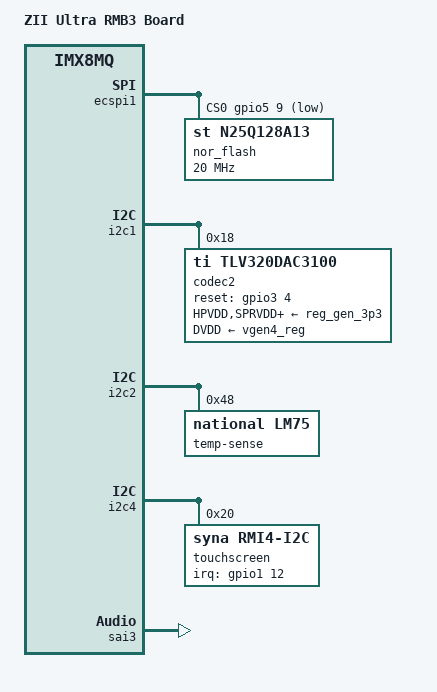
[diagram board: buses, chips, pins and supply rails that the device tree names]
// SPDX-License-Identifier: (GPL-2.0 OR MIT)
/*
 * Copyright (C) 2019 Zodiac Inflight Innovations
 */

/dts-v1/;

#include "imx8mq-zii-ultra.dtsi"

/ {
	model = "ZII Ultra RMB3 Board";
	compatible = "zii,imx8mq-ultra-rmb3", "zii,imx8mq-ultra", "fsl,imx8mq";

	sound1 {
		compatible = "simple-audio-card";
		simple-audio-card,name = "front";
		simple-audio-card,format = "i2s";
		simple-audio-card,bitclock-master = <&sound1_codec>;
		simple-audio-card,frame-master = <&sound1_codec>;
		simple-audio-card,widgets =
			"Headphone", "Headphone Jack Front";
		simple-audio-card,routing =
			"Headphone Jack Front", "HPA1 HPLEFT",
			"Headphone Jack Front", "HPA1 HPRIGHT",
			"HPA1 LEFTIN", "HPL",
			"HPA1 RIGHTIN", "HPR";
		simple-audio-card,aux-devs = <&hpa1>;

		sound1_cpu: simple-audio-card,cpu {
			sound-dai = <&sai2>;
		};

		sound1_codec: simple-audio-card,codec {
			sound-dai = <&codec1>;
			clocks = <&cs2000>;
		};
	};

	sound2 {
		compatible = "simple-audio-card";
		simple-audio-card,name = "periph";
		simple-audio-card,format = "i2s";
		simple-audio-card,bitclock-master = <&sound2_codec>;
		simple-audio-card,frame-master = <&sound2_codec>;
		simple-audio-card,widgets =
			"Headphone", "Headphone Jack Back";
		simple-audio-card,routing =
			"Headphone Jack Back", "HPA1 HPLEFT",
			"Headphone Jack Back", "HPA1 HPRIGHT",
			"HPA1 LEFTIN", "HPL",
			"HPA1 RIGHTIN", "HPR";
		simple-audio-card,aux-devs = <&hpa2>;

		sound2_cpu: simple-audio-card,cpu {
			sound-dai = <&sai3>;
		};

		sound2_codec: simple-audio-card,codec {
			sound-dai = <&codec2>;
			clocks = <&cs2000>;
		};
	};
};

&ecspi1 {
	pinctrl-names = "default";
	pinctrl-0 = <&pinctrl_ecspi1>;
	cs-gpios = <&gpio5 9 GPIO_ACTIVE_LOW>;
	status = "okay";
	#address-cells = <1>;
	#size-cells = <0>;

	nor_flash: flash@0 {
		compatible = "st,n25q128a13", "jedec,spi-nor";
		spi-max-frequency = <20000000>;
		reg = <0>;
	};
};

&hpa2 {
	sound-name-prefix = "HPA1";
};

&i2c1 {
	codec2: codec@18 {
		compatible = "ti,tlv320dac3100";
		pinctrl-names = "default";
		pinctrl-0 = <&pinctrl_codec2>;
		reg = <0x18>;
		#sound-dai-cells = <0>;
		HPVDD-supply = <&reg_gen_3p3>;
		SPRVDD-supply = <&reg_gen_3p3>;
		SPLVDD-supply = <&reg_gen_3p3>;
		AVDD-supply = <&reg_gen_3p3>;
		IOVDD-supply = <&reg_gen_3p3>;
		DVDD-supply = <&vgen4_reg>;
		reset-gpios = <&gpio3 4 GPIO_ACTIVE_HIGH>;
	};
};

&i2c2 {
	temp-sense@48 {
		compatible = "national,lm75";
		reg = <0x48>;
	};
};

&i2c4 {
	touchscreen@20 {
		compatible = "syna,rmi4-i2c";
		pinctrl-names = "default";
		pinctrl-0 = <&pinctrl_ts>;
		reg = <0x20>;
		interrupt-parent = <&gpio1>;
		interrupts = <12 IRQ_TYPE_LEVEL_LOW>;

		#address-cells = <1>;
		#size-cells = <0>;

		rmi4-f01@1 {
			reg = <0x1>;
			syna,nosleep-mode = <2>;
		};

		rmi4-f11@11 {
			reg = <0x11>;
			touchscreen-inverted-x;
			touchscreen-swapped-x-y;
			syna,sensor-type = <1>;
			syna,delta-x-threshold = <5>;
			syna,delta-y-threshold = <10>;
		};

		rmi4-f12@12 {
			reg = <0x12>;
			touchscreen-inverted-x;
			touchscreen-swapped-x-y;
			syna,sensor-type = <1>;
		};
	};

	touchscreen@2a {
		compatible = "eeti,exc3000";
		pinctrl-names = "default";
		pinctrl-0 = <&pinctrl_ts>;
		reg = <0x2a>;
		interrupt-parent = <&gpio1>;
		interrupts = <12 IRQ_TYPE_LEVEL_LOW>;
		touchscreen-inverted-x;
		touchscreen-swapped-x-y;
		status = "disabled";
	};
};

&sai3 {
	pinctrl-names = "default";
	pinctrl-0 = <&pinctrl_sai3>;
	status = "okay";
};

&usbhub {
	swap-dx-lanes = <0>;
};

&iomuxc {
	pinctrl_codec2: dac2grp {
		fsl,pins = <
			MX8MQ_IOMUXC_NAND_CE3_B_GPIO3_IO4		0x41
		>;
	};

	pinctrl_ecspi1: ecspi1grp {
		fsl,pins = <
			MX8MQ_IOMUXC_ECSPI1_SS0_GPIO5_IO9	0x19
			MX8MQ_IOMUXC_ECSPI1_SCLK_ECSPI1_SCLK	0x82
			MX8MQ_IOMUXC_ECSPI1_MISO_ECSPI1_MISO	0x82
			MX8MQ_IOMUXC_ECSPI1_MOSI_ECSPI1_MOSI	0x82
		>;
	};

	pinctrl_sai3: sai3grp {
		fsl,pins = <
			MX8MQ_IOMUXC_SAI3_TXFS_SAI3_TX_SYNC		0xd6
			MX8MQ_IOMUXC_SAI3_TXC_SAI3_TX_BCLK		0xd6
			MX8MQ_IOMUXC_SAI3_TXD_SAI3_TX_DATA0		0xd6
		>;
	};
};
